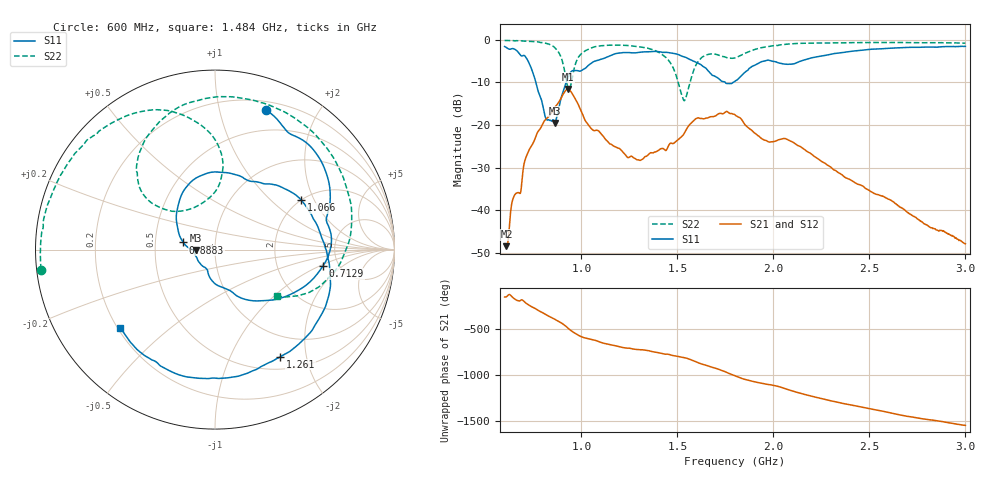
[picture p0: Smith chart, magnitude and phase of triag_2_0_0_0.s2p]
#  HZ  S  RI  R  50.00
! Rohde & Schwarz ZVB8 2Ports - Version 2.81 - 1145.1010k08 SN: 100113
! Date: 2016-05-03 01:36:53
! Measurements: S11 S21 S12 S22
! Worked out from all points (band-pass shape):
!   1000 points, 600 MHz to 3 GHz, reference 50 ohm
!   highest |S21| = -11.55 dB at 929.1 MHz (marker M1); lowest = -48.4 dB at 609.6 MHz (marker M2)
!   |S21| within 3 dB of the highest: 883.8 MHz to 975.9 MHz (92.05 MHz wide, 9.9 % of centre)
!   lowest |S11| = -19.6 dB at 861.9 MHz (marker M3), VSWR 1.23, Z = 40.5 - j0.405 ohm
!   |S11| at or under -10 dB: 762.4 MHz to 920.9 MHz (158.5 MHz wide, 18.8 % of centre); 1.748 GHz to 1.792 GHz (43.57 MHz wide, 2.46 % of centre)
!   |S22| runs from -14.3 to -0.2 dB; largest |S21 - S12| = 0.0015
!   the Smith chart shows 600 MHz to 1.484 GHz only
!   S11 on the Smith chart (normalised r, x): 600 MHz: 0.28, +1.39; 712.9 MHz: 3.78, -1.09; 888.3 MHz: 0.70, +0.06; 1.066 GHz: 2.00, +1.59; 1.261 GHz: 0.67, -1.57; 1.484 GHz: 0.21, -0.35
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6e8  0.2856 0.778  -0.00364 -0.00149  -0.00362 -0.00143  -0.969 -0.1109
6.096096e8  0.3471 0.7255  -0.00344 -0.0016  -0.00351 -0.00164  -0.972 -0.0661
7.129129e8  0.602 -0.0907  -0.0293 0.0311  -0.0298 0.0305  -0.8842 0.3661
8.618619e8  -0.1049 -0.00494  0.1255 -0.1002  0.1258 -0.0997  -0.2311 0.7669
8.882883e8  -0.177 0.0397  0.0685 -0.182  0.069 -0.1813  -0.0413 0.6623
9.291291e8  -0.1889 0.2998  -0.1756 -0.1977  -0.1743 -0.1981  -0.0531 0.2712
1.001201e9  0.2108 0.3795  -0.0947 0.105  -0.0951 0.1043  -0.4191 0.5441
1.066066e9  0.4802 0.2756  -0.0105 0.0849  -0.0107 0.0847  -0.205 0.792
1.169369e9  0.6431 -0.2038  0.0439 0.0353  0.0435 0.0354  0.2672 0.817
1.260661e9  0.3644 -0.5967  0.0429 0.00302  0.0428 0.00311  0.6089 0.5822
1.4e9  -0.2465 -0.6783  0.039 -0.0316  0.0391 -0.0315  0.7111 -0.0457
1.484084e9  -0.5265 -0.4372  0.0185 -0.0589  0.0186 -0.0587  0.3481 -0.2567
1.534535e9  -0.5793 -0.2367  -0.00214 -0.0789  -0.00179 -0.0787  0.1884 -0.0386
1.584985e9  -0.5535 -0.0665  -0.0679 -0.0897  -0.0677 -0.0897  0.4136 0.141
1.652252e9  -0.4418 0.0958  -0.1201 -0.00407  -0.1201 -0.00457  0.6451 -0.1451
1.801201e9  -0.3241 0.04  0.0445 0.1222  0.0437 0.1221  0.4176 -0.4449
1.938138e9  -0.4581 0.3045  0.0682 -0.0123  0.0679 -0.0122  0.2429 -0.7665
2.2e9  0.0794 0.6058  -0.0395 -0.0221  -0.0393 -0.0223  -0.5414 -0.7294
2.430631e9  0.7193 0.1667  -0.00518 0.02  -0.00522 0.0199  -0.8879 -0.2403
2.601201e9  0.5977 -0.5161  0.0112 0.00748  0.0111 0.00752  -0.9088 0.1566
2.786186e9  -0.0586 -0.8123  0.00558 -0.00412  0.00561 -0.00416  -0.7313 0.5524
3e9  -0.7065 -0.4383  -0.00112 -0.0039  -0.00109 -0.00396  -0.3263 0.8473
